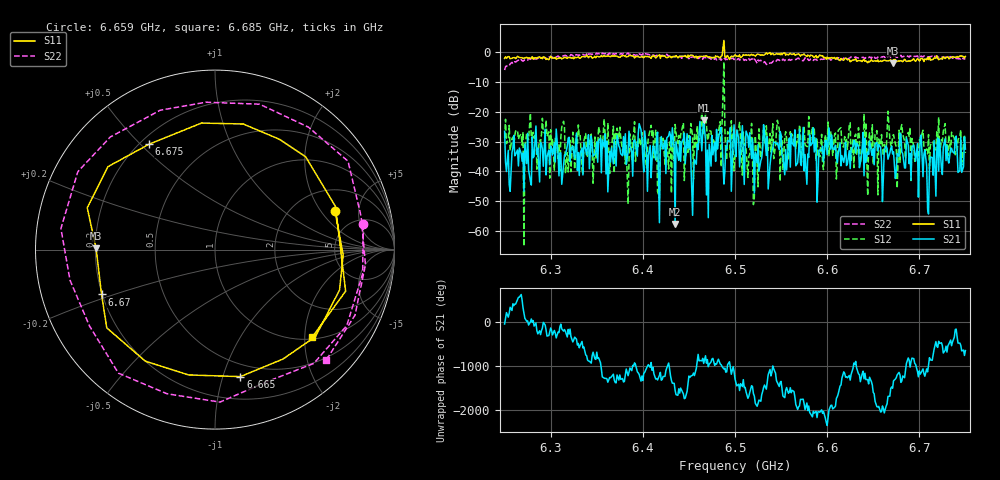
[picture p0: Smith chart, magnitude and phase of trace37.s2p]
# Hz S RI R 50
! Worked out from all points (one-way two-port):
!   401 points, 6.25 GHz to 6.75 GHz, reference 50 ohm
!   highest |S21| = -22.83 dB at 6.466 GHz (marker M1); lowest = -57.7 dB at 6.435 GHz (marker M2)
!   lowest |S11| = -3.6 dB at 6.671 GHz (marker M3), VSWR 4.92, Z = 10.2 + j0.229 ohm
!   |S11| at or under -10 dB: nowhere
!   |S22| runs from -5.9 to -0.1 dB; largest |S21 - S12| = 0.69
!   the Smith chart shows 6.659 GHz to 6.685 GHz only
!   S11 on the Smith chart (normalised r, x): 6.659 GHz: 3.23, +2.76; 6.665 GHz: 0.39, -1.14; 6.67 GHz: 0.20, -0.18; 6.675 GHz: 0.24, +0.53; 6.685 GHz: 1.05, -2.18
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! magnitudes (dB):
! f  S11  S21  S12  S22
! 6.25 GHz  -2.1  -26.5  -28.7  -5.9
! 6.254 GHz  -1.4  -33.0  -29.1  -4.8
! 6.334 GHz  -1.5  -32.2  -39.5  -0.9
! 6.409 GHz  -2.0  -42.1  -24.5  -0.7
! 6.418 GHz  -0.9  -57.2  -48.9  -1.1
! 6.435 GHz  -1.5  -57.7  -24.2  -1.5
! 6.466 GHz  -1.3  -22.8  -27.2  -1.7
! 6.471 GHz  -1.6  -55.6  -29.5  -1.7
! 6.482 GHz  -1.5  -28.8  -26.7  -2.5
! 6.5 GHz  -0.8  -31.8  -34.7  -2.1
! 6.522 GHz  -1.3  -33.5  -28.1  -2.6
! 6.532 GHz  -0.8  -26.8  -30.5  -3.2
! 6.584 GHz  -1.1  -30.5  -25.0  -2.3
! 6.659 GHz  -3.1  -36.9  -27.6  -1.5
! 6.665 GHz  -2.8  -32.3  -27.0  -1.4
! 6.668 GHz  -2.7  -33.8  -29.1  -1.2
! 6.67 GHz  -3.4  -31.5  -31.7  -1.7
! 6.671 GHz  -3.6  -34.2  -28.2  -1.2
! 6.675 GHz  -3.2  -39.9  -31.9  -1.6
! 6.685 GHz  -2.8  -38.9  -35.7  -1.2
! 6.71 GHz  -2.4  -54.3  -27.6  -1.5
! 6.75 GHz  -1.4  -32.5  -33.8  -2.1
